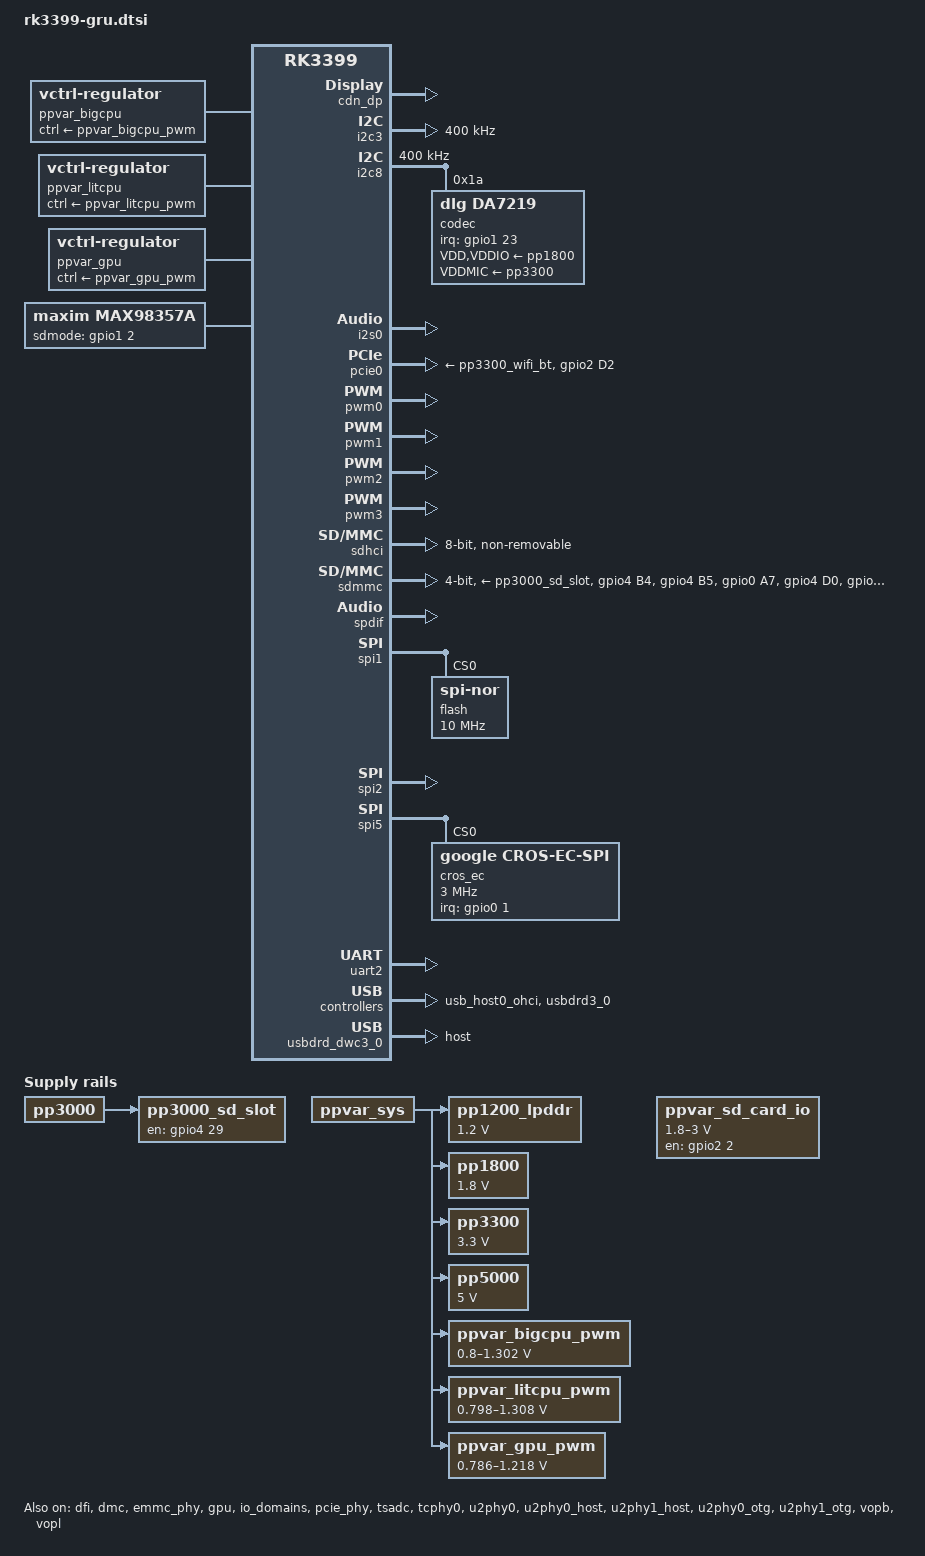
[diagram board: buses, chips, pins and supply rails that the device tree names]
// SPDX-License-Identifier: (GPL-2.0+ OR MIT)
/*
 * Google Gru (and derivatives) board device tree source
 *
 * Copyright 2016-2017 Google, Inc
 */

#include <dt-bindings/input/input.h>
#include "rk3399.dtsi"
#include "rk3399-op1-opp.dtsi"

/ {
	aliases {
		mmc0 = &sdmmc;
		mmc1 = &sdhci;
	};

	chosen {
		stdout-path = "serial2:115200n8";
	};

	/*
	 * Power Tree
	 *
	 * In general an attempt is made to include all rails called out by
	 * the schematic as long as those rails interact in some way with
	 * the AP.  AKA:
	 * - Rails that only connect to the EC (or devices that the EC talks to)
	 *   are not included.
	 * - Rails _are_ included if the rails go to the AP even if the AP
	 *   doesn't currently care about them / they are always on.  The idea
	 *   here is that it makes it easier to map to the schematic or extend
	 *   later.
	 *
	 * If two rails are substantially the same from the AP's point of
	 * view, though, we won't create a full fixed regulator.  We'll just
	 * put the child rail as an alias of the parent rail.  Sometimes rails
	 * look the same to the AP because one of these is true:
	 * - The EC controls the enable and the EC always enables a rail as
	 *   long as the AP is running.
	 * - The rails are actually connected to each other by a jumper and
	 *   the distinction is just there to add clarity/flexibility to the
	 *   schematic.
	 */

	ppvar_sys: ppvar-sys {
		compatible = "regulator-fixed";
		regulator-name = "ppvar_sys";
		regulator-always-on;
		regulator-boot-on;
	};

	pp1200_lpddr: pp1200-lpddr {
		compatible = "regulator-fixed";
		regulator-name = "pp1200_lpddr";

		/* EC turns on w/ lpddr_pwr_en; always on for AP */
		regulator-always-on;
		regulator-boot-on;
		regulator-min-microvolt = <1200000>;
		regulator-max-microvolt = <1200000>;

		vin-supply = <&ppvar_sys>;
	};

	pp1800: pp1800 {
		compatible = "regulator-fixed";
		regulator-name = "pp1800";

		/* Always on when ppvar_sys shows power good */
		regulator-always-on;
		regulator-boot-on;
		regulator-min-microvolt = <1800000>;
		regulator-max-microvolt = <1800000>;

		vin-supply = <&ppvar_sys>;
	};

	pp3300: pp3300 {
		compatible = "regulator-fixed";
		regulator-name = "pp3300";

		/* Always on; plain and simple */
		regulator-always-on;
		regulator-boot-on;
		regulator-min-microvolt = <3300000>;
		regulator-max-microvolt = <3300000>;

		vin-supply = <&ppvar_sys>;
	};

	pp5000: pp5000 {
		compatible = "regulator-fixed";
		regulator-name = "pp5000";

		/* EC turns on w/ pp5000_en; always on for AP */
		regulator-always-on;
		regulator-boot-on;
		regulator-min-microvolt = <5000000>;
		regulator-max-microvolt = <5000000>;

		vin-supply = <&ppvar_sys>;
	};

	ppvar_bigcpu_pwm: ppvar-bigcpu-pwm {
		compatible = "pwm-regulator";
		regulator-name = "ppvar_bigcpu_pwm";

		pwms = <&pwm1 0 3337 0>;
		pwm-supply = <&ppvar_sys>;
		pwm-dutycycle-range = <100 0>;
		pwm-dutycycle-unit = <100>;

		/* EC turns on w/ ap_core_en; always on for AP */
		regulator-always-on;
		regulator-boot-on;
		regulator-min-microvolt = <800107>;
		regulator-max-microvolt = <1302232>;
	};

	ppvar_bigcpu: ppvar-bigcpu {
		compatible = "vctrl-regulator";
		regulator-name = "ppvar_bigcpu";

		regulator-min-microvolt = <800107>;
		regulator-max-microvolt = <1302232>;

		ctrl-supply = <&ppvar_bigcpu_pwm>;
		ctrl-voltage-range = <800107 1302232>;

		regulator-settling-time-up-us = <322>;
	};

	ppvar_litcpu_pwm: ppvar-litcpu-pwm {
		compatible = "pwm-regulator";
		regulator-name = "ppvar_litcpu_pwm";

		pwms = <&pwm2 0 3337 0>;
		pwm-supply = <&ppvar_sys>;
		pwm-dutycycle-range = <100 0>;
		pwm-dutycycle-unit = <100>;

		/* EC turns on w/ ap_core_en; always on for AP */
		regulator-always-on;
		regulator-boot-on;
		regulator-min-microvolt = <797743>;
		regulator-max-microvolt = <1307837>;
	};

	ppvar_litcpu: ppvar-litcpu {
		compatible = "vctrl-regulator";
		regulator-name = "ppvar_litcpu";

		regulator-min-microvolt = <797743>;
		regulator-max-microvolt = <1307837>;

		ctrl-supply = <&ppvar_litcpu_pwm>;
		ctrl-voltage-range = <797743 1307837>;

		regulator-settling-time-up-us = <384>;
	};

	ppvar_gpu_pwm: ppvar-gpu-pwm {
		compatible = "pwm-regulator";
		regulator-name = "ppvar_gpu_pwm";

		pwms = <&pwm0 0 3337 0>;
		pwm-supply = <&ppvar_sys>;
		pwm-dutycycle-range = <100 0>;
		pwm-dutycycle-unit = <100>;

		/* EC turns on w/ ap_core_en; always on for AP */
		regulator-always-on;
		regulator-boot-on;
		regulator-min-microvolt = <786384>;
		regulator-max-microvolt = <1217747>;
	};

	ppvar_gpu: ppvar-gpu {
		compatible = "vctrl-regulator";
		regulator-name = "ppvar_gpu";

		regulator-min-microvolt = <786384>;
		regulator-max-microvolt = <1217747>;

		ctrl-supply = <&ppvar_gpu_pwm>;
		ctrl-voltage-range = <786384 1217747>;

		regulator-settling-time-up-us = <390>;
	};

	/* EC turns on w/ pp900_ddrpll_en */
	pp900_ddrpll: pp900-ap {
	};

	/* EC turns on w/ pp900_pll_en */
	pp900_pll: pp900-ap {
	};

	/* EC turns on w/ pp900_pmu_en */
	pp900_pmu: pp900-ap {
	};

	/* EC turns on w/ pp1800_s0_en_l */
	pp1800_ap_io: pp1800_emmc: pp1800_nfc: pp1800_s0: pp1800 {
	};

	/* EC turns on w/ pp1800_avdd_en_l */
	pp1800_avdd: pp1800 {
	};

	/* EC turns on w/ pp1800_lid_en_l */
	pp1800_lid: pp1800_mic: pp1800 {
	};

	/* EC turns on w/ lpddr_pwr_en */
	pp1800_lpddr: pp1800 {
	};

	/* EC turns on w/ pp1800_pmu_en_l */
	pp1800_pmu: pp1800 {
	};

	/* EC turns on w/ pp1800_usb_en_l */
	pp1800_usb: pp1800 {
	};

	pp3000_sd_slot: pp3000-sd-slot {
		compatible = "regulator-fixed";
		regulator-name = "pp3000_sd_slot";
		pinctrl-names = "default";
		pinctrl-0 = <&sd_slot_pwr_en>;

		enable-active-high;
		gpio = <&gpio4 29 GPIO_ACTIVE_HIGH>;

		vin-supply = <&pp3000>;
	};

	/*
	 * Technically, this is a small abuse of 'regulator-gpio'; this
	 * regulator is a mux between pp1800 and pp3300. pp1800 and pp3300 are
	 * always on though, so it is sufficient to simply control the mux
	 * here.
	 */
	ppvar_sd_card_io: ppvar-sd-card-io {
		compatible = "regulator-gpio";
		regulator-name = "ppvar_sd_card_io";
		pinctrl-names = "default";
		pinctrl-0 = <&sd_io_pwr_en &sd_pwr_1800_sel>;

		enable-active-high;
		enable-gpios = <&gpio2 2 GPIO_ACTIVE_HIGH>;
		gpios = <&gpio2 28 GPIO_ACTIVE_HIGH>;
		states = <1800000 0x1>,
			 <3000000 0x0>;

		regulator-min-microvolt = <1800000>;
		regulator-max-microvolt = <3000000>;
	};

	/* EC turns on w/ pp3300_trackpad_en_l */
	pp3300_trackpad: pp3300-trackpad {
	};

	/* EC turns on w/ usb_a_en */
	pp5000_usb_a_vbus: pp5000 {
	};

	ap_rtc_clk: ap-rtc-clk {
		compatible = "fixed-clock";
		clock-frequency = <32768>;
		clock-output-names = "xin32k";
		#clock-cells = <0>;
	};

	max98357a: max98357a {
		compatible = "maxim,max98357a";
		pinctrl-names = "default";
		pinctrl-0 = <&sdmode_en>;
		sdmode-gpios = <&gpio1 2 GPIO_ACTIVE_HIGH>;
		sdmode-delay = <2>;
		#sound-dai-cells = <0>;
		status = "okay";
	};

	sound: sound {
		compatible = "rockchip,rk3399-gru-sound";
		rockchip,cpu = <&i2s0 &spdif>;
	};
};

&cdn_dp {
	status = "okay";
};

/*
 * Set some suspend operating points to avoid OVP in suspend
 *
 * When we go into S3 ARM Trusted Firmware will transition our PWM regulators
 * from wherever they're at back to the "default" operating point (whatever
 * voltage we get when we set the PWM pins to "input").
 *
 * This quick transition under light load has the possibility to trigger the
 * regulator "over voltage protection" (OVP).
 *
 * To make extra certain that we don't hit this OVP at suspend time, we'll
 * transition to a voltage that's much closer to the default (~1.0 V) so that
 * there will not be a big jump.  Technically we only need to get within 200 mV
 * of the default voltage, but the speed here should be fast enough and we need
 * suspend/resume to be rock solid.
 */

&cluster0_opp {
	opp05 {
		opp-suspend;
	};
};

&cluster1_opp {
	opp06 {
		opp-suspend;
	};
};

&cpu_l0 {
	cpu-supply = <&ppvar_litcpu>;
};

&cpu_l1 {
	cpu-supply = <&ppvar_litcpu>;
};

&cpu_l2 {
	cpu-supply = <&ppvar_litcpu>;
};

&cpu_l3 {
	cpu-supply = <&ppvar_litcpu>;
};

&cpu_b0 {
	cpu-supply = <&ppvar_bigcpu>;
};

&cpu_b1 {
	cpu-supply = <&ppvar_bigcpu>;
};


&cru {
	assigned-clocks =
		<&cru PLL_GPLL>, <&cru PLL_CPLL>,
		<&cru PLL_NPLL>,
		<&cru ACLK_PERIHP>, <&cru HCLK_PERIHP>,
		<&cru PCLK_PERIHP>,
		<&cru ACLK_PERILP0>, <&cru HCLK_PERILP0>,
		<&cru PCLK_PERILP0>, <&cru ACLK_CCI>,
		<&cru HCLK_PERILP1>, <&cru PCLK_PERILP1>,
		<&cru ACLK_VIO>, <&cru ACLK_HDCP>,
		<&cru ACLK_GIC_PRE>,
		<&cru PCLK_DDR>;
	assigned-clock-rates =
		<600000000>, <800000000>,
		<1000000000>,
		<150000000>, <75000000>,
		<37500000>,
		<100000000>, <100000000>,
		<50000000>, <800000000>,
		<100000000>, <50000000>,
		<400000000>, <400000000>,
		<200000000>,
		<200000000>;
};

&dfi {
	status = "okay";
};

&dmc {
	status = "okay";

	rockchip,pd-idle-ns = <160>;
	rockchip,sr-idle-ns = <10240>;
	rockchip,sr-mc-gate-idle-ns = <40960>;
	rockchip,srpd-lite-idle-ns = <61440>;
	rockchip,standby-idle-ns = <81920>;

	rockchip,ddr3_odt_dis_freq = <666000000>;
	rockchip,lpddr3_odt_dis_freq = <666000000>;
	rockchip,lpddr4_odt_dis_freq = <666000000>;

	rockchip,sr-mc-gate-idle-dis-freq-hz = <1000000000>;
	rockchip,srpd-lite-idle-dis-freq-hz = <0>;
	rockchip,standby-idle-dis-freq-hz = <928000000>;
};

&dmc_opp_table {
	opp03 {
		opp-suspend;
	};
};

&emmc_phy {
	status = "okay";
};

&gpu {
	mali-supply = <&ppvar_gpu>;
	status = "okay";
};

ap_i2c_ts: &i2c3 {
	status = "okay";

	clock-frequency = <400000>;

	/* These are relatively safe rise/fall times */
	i2c-scl-falling-time-ns = <50>;
	i2c-scl-rising-time-ns = <300>;
};

ap_i2c_audio: &i2c8 {
	status = "okay";

	clock-frequency = <400000>;

	/* These are relatively safe rise/fall times */
	i2c-scl-falling-time-ns = <50>;
	i2c-scl-rising-time-ns = <300>;

	codec: da7219@1a {
		compatible = "dlg,da7219";
		reg = <0x1a>;
		interrupt-parent = <&gpio1>;
		interrupts = <23 IRQ_TYPE_LEVEL_LOW>;
		clocks = <&cru SCLK_I2S_8CH_OUT>;
		clock-names = "mclk";
		dlg,micbias-lvl = <2600>;
		dlg,mic-amp-in-sel = "diff";
		pinctrl-names = "default";
		pinctrl-0 = <&headset_int_l>;
		VDD-supply = <&pp1800>;
		VDDMIC-supply = <&pp3300>;
		VDDIO-supply = <&pp1800>;

		da7219_aad {
			dlg,adc-1bit-rpt = <1>;
			dlg,btn-avg = <4>;
			dlg,btn-cfg = <50>;
			dlg,mic-det-thr = <500>;
			dlg,jack-ins-deb = <20>;
			dlg,jack-det-rate = "32ms_64ms";
			dlg,jack-rem-deb = <1>;

			dlg,a-d-btn-thr = <0xa>;
			dlg,d-b-btn-thr = <0x16>;
			dlg,b-c-btn-thr = <0x21>;
			dlg,c-mic-btn-thr = <0x3E>;
		};
	};
};

&i2s0 {
	status = "okay";
};

&io_domains {
	status = "okay";

	audio-supply = <&pp1800_audio>;		/* APIO5_VDD;  3d 4a */
	bt656-supply = <&pp1800_ap_io>;		/* APIO2_VDD;  2a 2b */
	gpio1830-supply = <&pp3000_ap>;		/* APIO4_VDD;  4c 4d */
	sdmmc-supply = <&ppvar_sd_card_io>;	/* SDMMC0_VDD; 4b    */
};

&pcie0 {
	status = "okay";

	ep-gpios = <&gpio2 27 GPIO_ACTIVE_HIGH>;
	pinctrl-names = "default";
	pinctrl-0 = <&pcie_clkreqn_cpm>, <&wifi_perst_l>;
	vpcie3v3-supply = <&pp3300_wifi_bt>;
	vpcie1v8-supply = <&wlan_pd_n>; /* HACK: see &wlan_pd_n */
	vpcie0v9-supply = <&pp900_pcie>;

	pci_rootport: pcie@0,0 {
		reg = <0x0000 0 0 0 0>;
		#address-cells = <3>;
		#size-cells = <2>;
		ranges;
	};
};

&pcie_phy {
	status = "okay";
};

&pmu_io_domains {
	status = "okay";

	pmu1830-supply = <&pp1800_pmu>;		/* PMUIO2_VDD */
};

&pwm0 {
	status = "okay";
};

&pwm1 {
	status = "okay";
};

&pwm2 {
	status = "okay";
};

&pwm3 {
	status = "okay";
};

&sdhci {
	/*
	 * Signal integrity isn't great at 200 MHz and 150 MHz (DDR) gives the
	 * same (or nearly the same) performance for all eMMC that are intended
	 * to be used.
	 */
	assigned-clock-rates = <150000000>;

	bus-width = <8>;
	mmc-hs400-1_8v;
	mmc-hs400-enhanced-strobe;
	non-removable;
	status = "okay";
};

&sdmmc {
	status = "okay";

	/*
	 * Note: configure "sdmmc_cd" as card detect even though it's actually
	 * hooked to ground.  Because we specified "cd-gpios" below dw_mmc
	 * should be ignoring card detect anyway.  Specifying the pin as
	 * sdmmc_cd means that even if you've got GRF_SOC_CON7[12] (force_jtag)
	 * turned on that the system will still make sure the port is
	 * configured as SDMMC and not JTAG.
	 */
	pinctrl-names = "default";
	pinctrl-0 = <&sdmmc_clk &sdmmc_cmd &sdmmc_cd &sdmmc_cd_pin
		     &sdmmc_bus4>;

	bus-width = <4>;
	cap-mmc-highspeed;
	cap-sd-highspeed;
	cd-gpios = <&gpio4 24 GPIO_ACTIVE_LOW>;
	disable-wp;
	sd-uhs-sdr12;
	sd-uhs-sdr25;
	sd-uhs-sdr50;
	sd-uhs-sdr104;
	vmmc-supply = <&pp3000_sd_slot>;
	vqmmc-supply = <&ppvar_sd_card_io>;
};

&spdif {
	status = "okay";

	/*
	 * SPDIF is routed internally to DP; we either don't use these pins, or
	 * mux them to something else.
	 */
	/delete-property/ pinctrl-0;
	/delete-property/ pinctrl-names;
};

&spi1 {
	status = "okay";

	pinctrl-names = "default", "sleep";
	pinctrl-1 = <&spi1_sleep>;

	flash@0 {
		compatible = "jedec,spi-nor";
		reg = <0>;

		/* May run faster once verified. */
		spi-max-frequency = <10000000>;
	};
};

&spi2 {
	status = "okay";
};

&spi5 {
	status = "okay";

	cros_ec: ec@0 {
		compatible = "google,cros-ec-spi";
		reg = <0>;
		interrupt-parent = <&gpio0>;
		interrupts = <1 IRQ_TYPE_LEVEL_LOW>;
		pinctrl-names = "default";
		pinctrl-0 = <&ec_ap_int_l>;
		spi-max-frequency = <3000000>;

		i2c_tunnel: i2c-tunnel {
			compatible = "google,cros-ec-i2c-tunnel";
			google,remote-bus = <4>;
			#address-cells = <1>;
			#size-cells = <0>;
		};

		usbc_extcon0: extcon0 {
			compatible = "google,extcon-usbc-cros-ec";
			google,usb-port-id = <0>;
		};
	};
};

&tsadc {
	status = "okay";

	rockchip,hw-tshut-mode = <1>; /* tshut mode 0:CRU 1:GPIO */
	rockchip,hw-tshut-polarity = <1>; /* tshut polarity 0:LOW 1:HIGH */
};

&tcphy0 {
	status = "okay";
	extcon = <&usbc_extcon0>;
};

&u2phy0 {
	status = "okay";
};

&u2phy0_host {
	status = "okay";
};

&u2phy1_host {
	status = "okay";
};

&u2phy0_otg {
	status = "okay";
};

&u2phy1_otg {
	status = "okay";
};

&uart2 {
	status = "okay";
};

&usb_host0_ohci {
	status = "okay";
};

&usbdrd3_0 {
	status = "okay";
	extcon = <&usbc_extcon0>;
};

&usbdrd_dwc3_0 {
	status = "okay";
	dr_mode = "host";
};

&vopb {
	status = "okay";
};

&vopb_mmu {
	status = "okay";
};

&vopl {
	status = "okay";
};

&vopl_mmu {
	status = "okay";
};

#include <arm/cros-ec-keyboard.dtsi>
#include <arm/cros-ec-sbs.dtsi>

&pinctrl {
	/*
	 * pinctrl settings for pins that have no real owners.
	 *
	 * At the moment settings are identical for S0 and S3, but if we later
	 * need to configure things differently for S3 we'll adjust here.
	 */
	pinctrl-names = "default";
	pinctrl-0 = <
		&ap_pwroff	/* AP will auto-assert this when in S3 */
		&clk_32k	/* This pin is always 32k on gru boards */
	>;

	pcfg_output_low: pcfg-output-low {
		output-low;
	};

	pcfg_output_high: pcfg-output-high {
		output-high;
	};

	pcfg_pull_none_8ma: pcfg-pull-none-8ma {
		bias-disable;
		drive-strength = <8>;
	};

	backlight-enable {
		bl_en: bl-en {
			rockchip,pins = <1 RK_PC1 RK_FUNC_GPIO &pcfg_pull_none>;
		};
	};

	cros-ec {
		ec_ap_int_l: ec-ap-int-l {
			rockchip,pins = <0 RK_PA1 RK_FUNC_GPIO &pcfg_pull_up>;
		};
	};

	discrete-regulators {
		sd_io_pwr_en: sd-io-pwr-en {
			rockchip,pins = <2 RK_PA2 RK_FUNC_GPIO
					 &pcfg_pull_none>;
		};

		sd_pwr_1800_sel: sd-pwr-1800-sel {
			rockchip,pins = <2 RK_PD4 RK_FUNC_GPIO
					 &pcfg_pull_none>;
		};

		sd_slot_pwr_en: sd-slot-pwr-en {
			rockchip,pins = <4 RK_PD5 RK_FUNC_GPIO
					 &pcfg_pull_none>;
		};
	};

	codec {
		/* Has external pullup */
		headset_int_l: headset-int-l {
			rockchip,pins = <1 RK_PC7 RK_FUNC_GPIO &pcfg_pull_none>;
		};

		mic_int: mic-int {
			rockchip,pins = <1 RK_PB5 RK_FUNC_GPIO &pcfg_pull_down>;
		};
	};

	max98357a {
		sdmode_en: sdmode-en {
			rockchip,pins = <1 RK_PA2 RK_FUNC_GPIO &pcfg_pull_down>;
		};
	};

	pcie {
		pcie_clkreqn_cpm: pci-clkreqn-cpm {
			/*
			 * Since our pcie doesn't support ClockPM(CPM), we want
			 * to hack this as gpio, so the EP could be able to
			 * de-assert it along and make ClockPM(CPM) work.
			 */
			rockchip,pins = <2 RK_PD2 RK_FUNC_GPIO &pcfg_pull_none>;
		};
	};

	sdmmc {
		/*
		 * We run sdmmc at max speed; bump up drive strength.
		 * We also have external pulls, so disable the internal ones.
		 */
		sdmmc_bus4: sdmmc-bus4 {
			rockchip,pins =
				<4 RK_PB0 1 &pcfg_pull_none_8ma>,
				<4 RK_PB1 1 &pcfg_pull_none_8ma>,
				<4 RK_PB2 1 &pcfg_pull_none_8ma>,
				<4 RK_PB3 1 &pcfg_pull_none_8ma>;
		};

		sdmmc_clk: sdmmc-clk {
			rockchip,pins =
				<4 RK_PB4 1 &pcfg_pull_none_8ma>;
		};

		sdmmc_cmd: sdmmc-cmd {
			rockchip,pins =
				<4 RK_PB5 1 &pcfg_pull_none_8ma>;
		};

		/*
		 * In our case the official card detect is hooked to ground
		 * to avoid getting access to JTAG just by sticking something
		 * in the SD card slot (see the force_jtag bit in the TRM).
		 *
		 * We still configure it as card detect because it doesn't
		 * hurt and dw_mmc will ignore it.  We make sure to disable
		 * the pull though so we don't burn needless power.
		 */
		sdmmc_cd: sdmmc-cd {
			rockchip,pins =
				<0 RK_PA7 1 &pcfg_pull_none>;
		};

		/* This is where we actually hook up CD; has external pull */
		sdmmc_cd_pin: sdmmc-cd-pin {
			rockchip,pins = <4 RK_PD0 RK_FUNC_GPIO &pcfg_pull_none>;
		};
	};

	spi1 {
		spi1_sleep: spi1-sleep {
			/*
			 * Pull down SPI1 CLK/CS/RX/TX during suspend, to
			 * prevent leakage.
			 */
			rockchip,pins = <1 RK_PB1 RK_FUNC_GPIO &pcfg_pull_down>,
					<1 RK_PB2 RK_FUNC_GPIO &pcfg_pull_down>,
					<1 RK_PA7 RK_FUNC_GPIO &pcfg_pull_down>,
					<1 RK_PB0 RK_FUNC_GPIO &pcfg_pull_down>;
		};
	};

	touchscreen {
		touch_int_l: touch-int-l {
			rockchip,pins = <3 RK_PB5 RK_FUNC_GPIO &pcfg_pull_up>;
		};

		touch_reset_l: touch-reset-l {
			rockchip,pins = <4 RK_PD2 RK_FUNC_GPIO &pcfg_pull_none>;
		};
	};

	trackpad {
		ap_i2c_tp_pu_en: ap-i2c-tp-pu-en {
			rockchip,pins = <3 RK_PB4 RK_FUNC_GPIO &pcfg_output_high>;
		};

		trackpad_int_l: trackpad-int-l {
			rockchip,pins = <1 RK_PA4 RK_FUNC_GPIO &pcfg_pull_up>;
		};
	};

	wifi: wifi {
		wlan_module_reset_l: wlan-module-reset-l {
			rockchip,pins = <1 RK_PB3 RK_FUNC_GPIO &pcfg_pull_none>;
		};

		bt_host_wake_l: bt-host-wake-l {
			/* Kevin has an external pull up, but Gru does not */
			rockchip,pins = <0 RK_PA3 RK_FUNC_GPIO &pcfg_pull_up>;
		};
	};

	write-protect {
		ap_fw_wp: ap-fw-wp {
			rockchip,pins = <1 RK_PC2 RK_FUNC_GPIO &pcfg_pull_up>;
		};
	};
};
